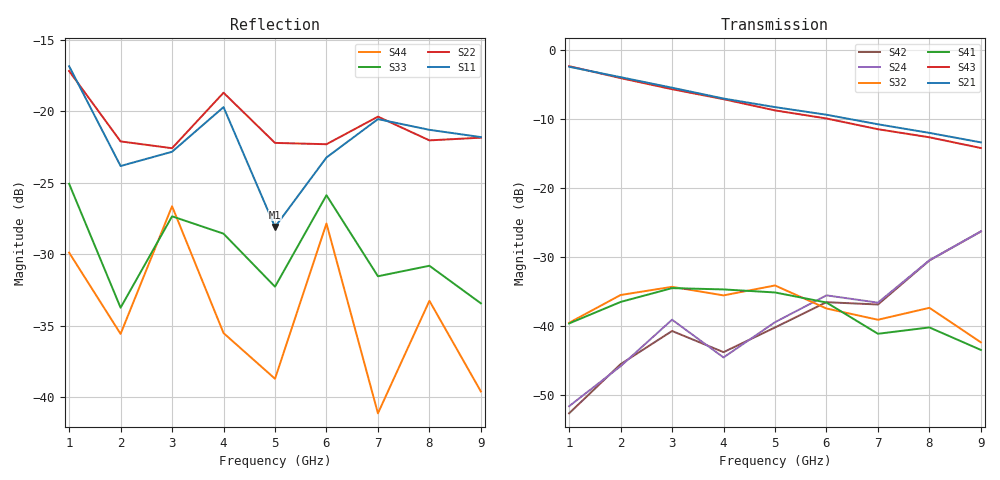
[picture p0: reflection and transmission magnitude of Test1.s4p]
# MHz MA S R 50.0
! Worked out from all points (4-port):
!   9 points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, 1 GHz to 9 GHz, reference 50 ohm
!   strongest paths, dB at 1 GHz, 3 GHz, 5 GHz, 7 GHz, 9 GHz:
!     S21: -2.5, -5.5, -8.3, -10.8, -13.4
!     S43: -2.4, -5.7, -8.8, -11.5, -14.2
!     S41: -39.6, -34.5, -35.1, -41.1, -43.4
!     S32: -39.5, -34.3, -34.1, -39.1, -42.3
!     S24: -51.6, -39.1, -39.4, -36.6, -26.3
!     S42: -52.6, -40.7, -40.2, -36.9, -26.3
!   lowest |S11| = -28.1 dB at 5 GHz (marker M1), VSWR 1.08, Z = 46.2 - j0.114 ohm
!   |S11| at or under -10 dB: start of sweep to end of sweep
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1000  0.1436 173.5  0.7498 -80.8  0.000521 160.6  0.01025 177.4
      0.7508 -80.8  0.1382 -172.6  0.01116 168.6  0.002638 18.6
      0.000759 135.1  0.01058 177.4  0.05569 38.7  0.7567 -103.2
      0.01046 172.7  0.002343 18.3  0.7579 -103.2  0.032 -10.6
2000  0.06427 141.8  0.6333 -150.6  0.003856 163.3  0.01623 98.0
      0.631 -150.6  0.07835 158.7  0.01522 90.0  0.005133 79.8
      0.003198 166.0  0.01679 82.7  0.02053 21.8  0.6222 165.6
      0.01496 101.9  0.005311 82.1  0.6214 165.4  0.01662 122.6
3000  0.07209 -163.7  0.5293 141.9  0.003744 -60.3  0.01687 33.3
      0.5295 142.3  0.07419 -153.1  0.0191 1.3  0.01113 111.2
      0.001819 -66.3  0.01924 0.2  0.04286 10.5  0.5177 77.6
      0.01883 29.8  0.009225 122.2  0.5166 77.7  0.04649 -43.2
4000  0.1033 165.6  0.4407 77.7  0.002622 -34.9  0.01926 -42.9
      0.4422 77.6  0.116 170.5  0.01526 -58.3  0.005938 53.8
      0.002185 15.8  0.01669 -52.5  0.03727 -10.6  0.4355 -7.9
      0.01843 -42.3  0.006487 20.5  0.4375 -7.8  0.01674 -126.6
5000  0.03934 -178.2  0.3842 16.2  0.02164 107.1  0.01067 -117.0
      0.3834 16.2  0.07742 -169.6  0.02017 -137.1  0.01068 -114.4
      0.02235 96.8  0.01968 -147.8  0.02431 -14.8  0.3607 -92.9
      0.01752 -105.9  0.009781 -101.6  0.3629 -92.0  0.01158 108.8
6000  0.06884 172.9  0.335 -45.9  0.01453 119.9  0.01647 -179.0
      0.3377 -45.9  0.0766 -170.1  0.01231 145.2  0.0167 -134.9
      0.01444 116.4  0.01342 143.1  0.0508 -18.6  0.3146 -174.7
      0.01482 177.3  0.0149 -134.0  0.3172 -174.5  0.04045 -128.3
9000  0.08114 171.6  0.2154 129.0  0.005893 49.8  0.004691 28.3
      0.2132 129.4  0.08075 -177.6  0.009857 -73.0  0.04843 174.2
      0.007508 -1.8  0.007639 -78.6  0.02126 74.1  0.1958 -61.8
      0.006729 48.3  0.04836 -178.7  0.194 -61.6  0.01045 -154.1
